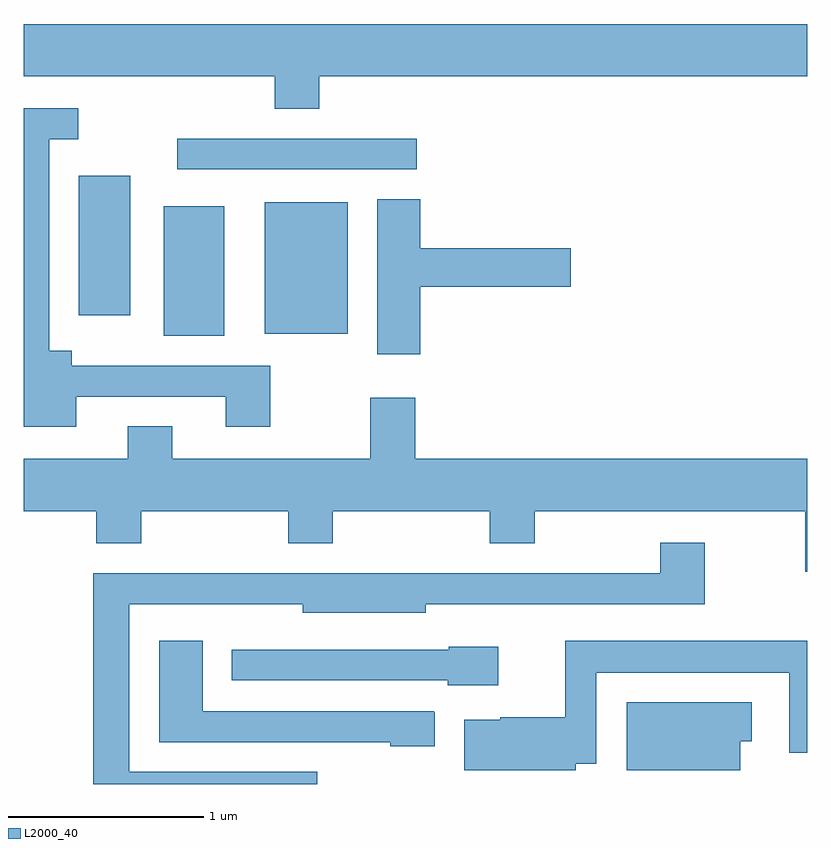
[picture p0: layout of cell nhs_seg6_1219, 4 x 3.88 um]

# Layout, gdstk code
import gdstk
lib = gdstk.Library(unit=1e-6, precision=1e-09)
def R(c, l, rs):  # rectangles x0, y0, x1, y1
    for r in rs: c.add(gdstk.rectangle(r[:2], r[2:], *l))
def P(c, l, *ps):  # polygons
    for p in ps: c.add(gdstk.Polygon(p, *l))
L2000_40 = (2000, 40)

nhs_seg6_1219 = lib.new_cell('nhs_seg6_1219')
R(nhs_seg6_1219, L2000_40, [(222.326,1586.451,222.634,1587.114), (222.841,1586.461,223.264,1587.134), (221.891,1586.556,222.154,1587.269), (222.393,1587.301,223.618,1587.459)])
P(nhs_seg6_1219, L2000_40, [(223.119,1587.776),(225.611,1587.776),(225.611,1588.044),(221.611,1588.044),(221.611,1587.776),(222.891,1587.776),(222.891,1587.611),(223.119,1587.611)],
  [(221.879,1586.141),(222.641,1586.141),(222.641,1585.986),(222.869,1585.986),(222.869,1586.299),(221.854,1586.299),(221.854,1586.374),(221.739,1586.374),(221.739,1587.456),(221.888,1587.456),(221.888,1587.614),(221.611,1587.614),(221.611,1585.986),(221.879,1585.986)],
  [(223.634,1586.701),(224.404,1586.701),(224.404,1586.899),(223.634,1586.899),(223.634,1587.149),(223.416,1587.149),(223.416,1586.356),(223.634,1586.356)],
  [(225.611,1585.824),(223.609,1585.824),(223.609,1586.134),(223.381,1586.134),(223.381,1585.824),(222.369,1585.824),(222.369,1585.989),(222.141,1585.989),(222.141,1585.824),(221.611,1585.824),(221.611,1585.556),(221.981,1585.556),(221.981,1585.391),(222.209,1585.391),(222.209,1585.556),(222.961,1585.556),(222.961,1585.391),(223.189,1585.391),(223.189,1585.556),(223.991,1585.556),(223.991,1585.391),(224.219,1585.391),(224.219,1585.556),(225.601,1585.556),(225.601,1585.246),(225.611,1585.246)],
  [(223.108,1584.224),(222.149,1584.224),(222.149,1585.081),(223.036,1585.081),(223.036,1585.036),(223.664,1585.036),(223.664,1585.081),(225.089,1585.081),(225.089,1585.394),(224.861,1585.394),(224.861,1585.239),(221.966,1585.239),(221.966,1584.162),(223.108,1584.162)],
  [(223.709,1584.529),(223.704,1584.534),(222.524,1584.534),(222.524,1584.894),(222.301,1584.894),(222.301,1584.376),(223.481,1584.376),(223.481,1584.356),(223.709,1584.356)],
  [(224.429,1584.266),(224.534,1584.266),(224.534,1584.731),(225.521,1584.731),(225.521,1584.321),(225.611,1584.321),(225.611,1584.894),(224.376,1584.894),(224.376,1584.504),(224.045,1584.504),(224.045,1584.489),(223.861,1584.489),(223.861,1584.231),(224.429,1584.231)],
  [(224.034,1584.864),(223.78,1584.864),(223.78,1584.849),(222.673,1584.849),(222.673,1584.691),(223.776,1584.691),(223.776,1584.666),(224.034,1584.666)],
  [(225.269,1584.381),(225.329,1584.381),(225.329,1584.579),(224.691,1584.579),(224.691,1584.231),(225.269,1584.231)])

lib.write_gds('nhs_seg6_1219.gds')
